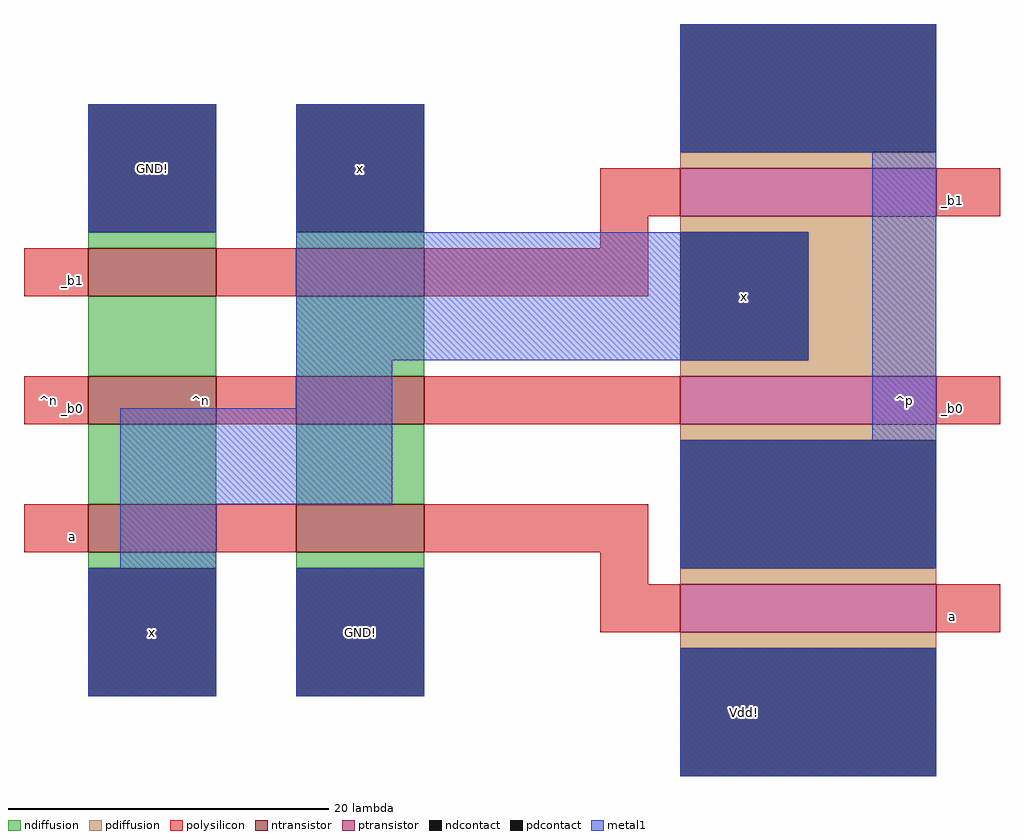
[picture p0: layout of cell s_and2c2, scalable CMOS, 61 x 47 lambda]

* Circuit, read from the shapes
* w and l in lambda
.subckt s_and2c2 GND! Vdd! _b0 _b1 a x
M1 n1 a x VSUBS nfet w=8 l=3
M2 n2 _b0 n1 VSUBS nfet w=8 l=3
M3 GND! _b1 n2 VSUBS nfet w=8 l=3
M4 n3 a GND! VSUBS nfet w=8 l=3
M5 n4 _b0 n3 VSUBS nfet w=8 l=3
M6 x _b1 n4 VSUBS nfet w=8 l=3
M7 n5 a Vdd! NWELL pfet w=16 l=3
M8 x _b0 n5 NWELL pfet w=16 l=3
M9 n5 _b1 x NWELL pfet w=16 l=3
.ends

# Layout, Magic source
magic
tech scmos
<< ndiffusion >>
rect -128 582 -120 583
rect -115 582 -107 583
rect -128 574 -120 579
rect -115 574 -107 579
rect -128 566 -120 571
rect -115 566 -107 571
rect -128 562 -120 563
rect -115 562 -107 563
<< pdiffusion >>
rect -91 587 -75 588
rect -91 583 -75 584
rect -83 575 -75 583
rect -91 574 -75 575
rect -91 570 -75 571
rect -91 561 -75 562
rect -91 557 -75 558
<< ntransistor >>
rect -128 579 -120 582
rect -115 579 -107 582
rect -128 571 -120 574
rect -115 571 -107 574
rect -128 563 -120 566
rect -115 563 -107 566
<< ptransistor >>
rect -91 584 -75 587
rect -91 571 -75 574
rect -91 558 -75 561
<< polysilicon >>
rect -96 584 -91 587
rect -75 584 -71 587
rect -96 582 -93 584
rect -132 579 -128 582
rect -120 579 -115 582
rect -107 579 -93 582
rect -132 571 -128 574
rect -120 571 -115 574
rect -107 571 -91 574
rect -75 571 -71 574
rect -132 563 -128 566
rect -120 563 -115 566
rect -107 563 -93 566
rect -96 561 -93 563
rect -96 558 -91 561
rect -75 558 -71 561
<< ndcontact >>
rect -128 583 -120 591
rect -115 583 -107 591
rect -128 554 -120 562
rect -115 554 -107 562
<< pdcontact >>
rect -91 588 -75 596
rect -91 575 -83 583
rect -91 562 -75 570
rect -91 549 -75 557
<< metal1 >>
rect -128 583 -120 591
rect -115 583 -107 591
rect -91 588 -75 596
rect -115 575 -83 583
rect -115 572 -109 575
rect -126 566 -109 572
rect -79 570 -75 588
rect -126 562 -120 566
rect -91 562 -75 570
rect -128 554 -120 562
rect -115 554 -107 562
rect -91 549 -75 557
<< labels >>
rlabel metal1 -87 579 -87 579 1 x
rlabel metal1 -87 553 -87 553 1 Vdd!
rlabel polysilicon -74 559 -74 559 1 a
rlabel polysilicon -129 564 -129 564 3 a
rlabel metal1 -111 558 -111 558 1 GND!
rlabel metal1 -111 587 -111 587 5 x
rlabel metal1 -124 587 -124 587 5 GND!
rlabel metal1 -124 558 -124 558 1 x
rlabel polysilicon -129 572 -129 572 3 _b0
rlabel polysilicon -74 572 -74 572 7 _b0
rlabel polysilicon -129 580 -129 580 3 _b1
rlabel polysilicon -74 585 -74 585 7 _b1
rlabel space -133 554 -128 591 7 ^n
rlabel space -134 553 -108 592 7 ^n
rlabel space -84 548 -70 597 3 ^p
<< end >>
